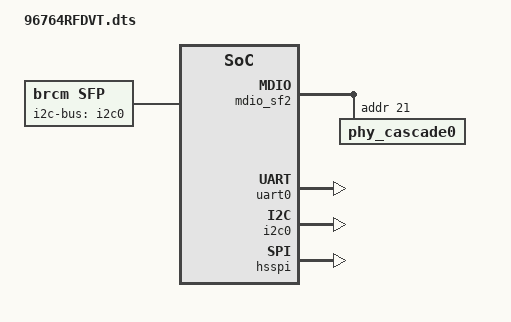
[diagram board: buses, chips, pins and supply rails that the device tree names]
#include "6764.dtsi"

/ {

	memory_controller {
		memcfg = <(BP_DDR_TYPE_DDR4       | \
			BP_DDR_SPEED_1600_22_22_22    | \
			BP_DDR_TOTAL_SIZE_2048MB      | \
			BP_DDR_DEVICE_WIDTH_16        | \
			BP_DDR_TOTAL_WIDTH_16BIT      | \
			BP_DDR_6764_DEFAULT           | \
			BP_DDR_CONFIG_DEBUG)>;
	};
	sfp: sfp {
		compatible = "brcm,sfp";
		pinctrl-name = "default";
		pinctrl-0 = <&a_slan0_sd_rx_los_pin_4>;
		mod-def0 = <&bca_extintr 3 GPIO_ACTIVE_LOW (BCA_EXTINTR_TYPE_BOTH_EDGE | BCA_EXTINTR_TYPE_SENSE_EDGE)>;
		i2c-bus = <&i2c0>;
		status = "okay";
	};
	buttons {
		compatible = "brcm,buttons";
		reset_button {
			ext_irq = <&bca_extintr 27 GPIO_ACTIVE_LOW (BCA_EXTINTR_TYPE_LOW_LEVEL | BCA_EXTINTR_TYPE_SENSE_EDGE)>;
			press {
				print = "Button Press -- Hold for 5s to do restore to default";
			};
			hold {
				rst_to_dflt = <5>;
			};
			release {
				reset = <0>;
			};  
		};
		ses_button {
			ext_irq = <&bca_extintr 31 GPIO_ACTIVE_LOW (BCA_EXTINTR_TYPE_LOW_LEVEL | BCA_EXTINTR_TYPE_SENSE_EDGE)>;
			release {
				ses_short_period = <0>;
				ses_long_period = <3>;
			};
		};
	};
};

&mdio_sf2 {
	/* Port PHY mapping:
	        port_imp -8#0- port_gphy <----> phy_gphy
	                  # 5- port_sgmii0 <--> phy_serdes0 - phy_cascade0
	                  ##6- port_sgmii1 <--> phy_serdes1 - sfp
	 */
	phy_gphy {
		status = "okay";
	};
	phy_cascade0 {
		reg = <21>;
		shared-ref-clk-mhz = <80>;
		enet-phy-lane-swap;
		status = "okay";
	};
	phy_serdes0 {
		phy-handle = <&phy_cascade0>;
		status = "okay";
	};
	phy_serdes1 {
		status = "okay";
		trx = <&sfp>;
	};
};

&switch0 {
	ports {
		port_gphy {
			phy-handle = <&phy_gphy>;
			network-leds=<&led0>;
			status = "okay";
		};
		port_sgmii0 {
			phy-handle = <&phy_serdes0>;
			network-leds=<&led1 &led2 &led3>;
			status = "okay";
		};
		port_sgmii1 {
			phy-handle = <&phy_serdes1>;
			status = "okay";
		};
	};
};
&vreg_sync {
	pinctrl-0 = <&b_vreg_sync_pin_33>;
	pinctrl-names = "default";
	status="okay";
};
&uart0 {
	pinctrl-names = "default";
	pinctrl-0 = <&uart0_sdin_pin_64 &uart0_sdout_pin_65>;
	status = "okay";
};
&led_ctrl {
	led0: parallel-port_0-led_0 {
		active_low;
		pinctrl-0 = <&a_per_led_24_pin_24>;
		link = <(LED_SPEED_100|LED_SPEED_1G)>;
		activity = <(LED_SPEED_100|LED_SPEED_1G)>;
		status="okay";
	};
	led1: parallel-port_5-led_0 {
		active_low;
		pinctrl-0 = <&a_per_led_11_pin_11>;
		link = <(LED_SPEED_100|LED_SPEED_2500)>;
		activity = <(LED_SPEED_100|LED_SPEED_2500)>;
		status="okay";
	};
	led2: parallel-port_5-led_1 {
		active_low;
		pinctrl-0 = <&a_per_led_13_pin_13>;
		link = <(LED_SPEED_1G)>;
		activity = <(LED_SPEED_1G)>;
		status="okay";
	};
	led3: parallel-port_5-led_2 {
		active_low;
		pinctrl-0 = <&a_per_led_14_pin_14>;
		link = <(LED_SPEED_2500|LED_SPEED_10G)>;
		activity = <(LED_SPEED_2500|LED_SPEED_10G)>;
		status="okay";
	};
	led4: sw_parallel_led_6 {
		active_low; 
		brightness = <255>;
		pinctrl-0 = <&b_per_led_06_pin_39>;
		flash_rate = <0>;
		status = "okay";
		label = "WiFi_0";
	};
	led5: sw_parallel_led_12 {
		active_low; 
		brightness = <255>;
		pinctrl-0 = <&a_per_led_12_pin_12>;
		flash_rate = <0>;
		status = "okay";
		label = "WiFi_1";
	};
	led6: sw_parallel_led_10 {
		active_low; 
		brightness = <255>;
		pinctrl-0 = <&a_per_led_10_pin_10>;
		flash_rate = <0>;
		status = "okay";
		label = "WPS";
	};

};
&legacy_leds {
	wl-sess-led = <&led6>;
	wl0-led = <&led4>;
	wl1-led = <&led5>;
};
&i2c0 {
	pinctrl-names = "default";
	pinctrl-0 = <&b_i2c_sda_pin_7 &b_i2c_scl_pin_6>;
	status = "okay";
};
&hsspi {
	status = "okay";
};
